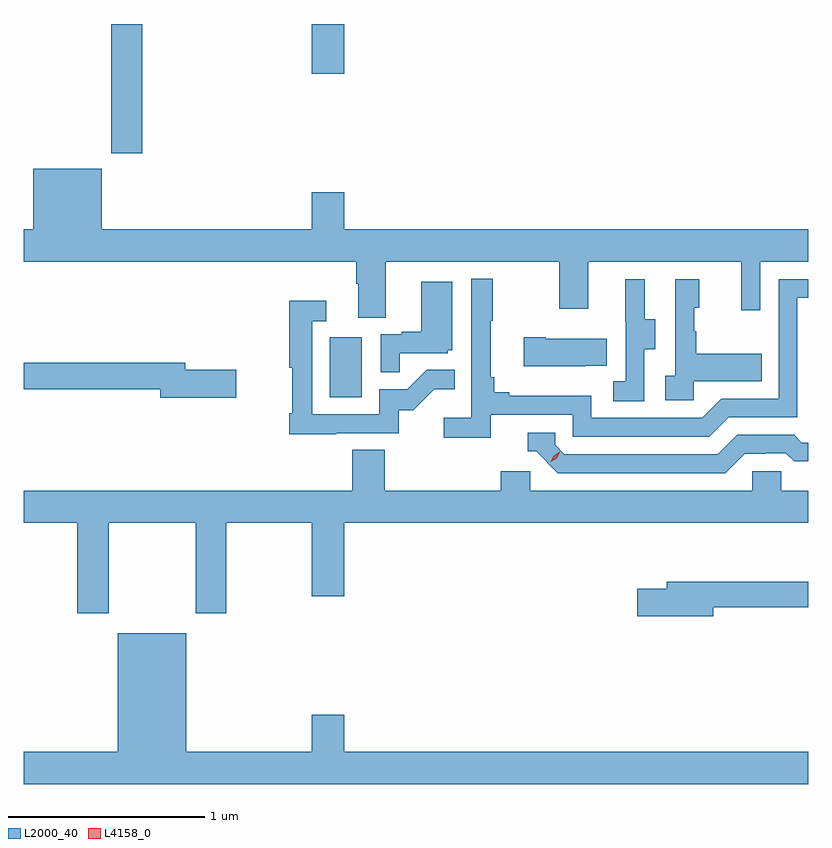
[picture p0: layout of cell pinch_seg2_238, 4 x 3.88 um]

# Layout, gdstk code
import gdstk
lib = gdstk.Library(unit=1e-6, precision=1e-09)
def R(c, l, rs):  # rectangles x0, y0, x1, y1
    for r in rs: c.add(gdstk.rectangle(r[:2], r[2:], *l))
def P(c, l, *ps):  # polygons
    for p in ps: c.add(gdstk.Polygon(p, *l))
L2000_40 = (2000, 40)
L4158_0 = (4158, 0)

pinch_seg2_238 = lib.new_cell('pinch_seg2_238')
R(pinch_seg2_238, L2000_40, [(896.366,650.94,896.53,651.247), (895.252,652.185,895.412,652.844), (896.276,652.59,896.44,652.844)])
P(pinch_seg2_238, L2000_40, [(896.653,651.632),(897.538,651.632),(897.538,651.393),(897.685,651.393),(897.685,651.632),(898.466,651.632),(898.466,651.384),(898.563,651.384),(898.563,651.632),(898.807,651.632),(898.807,651.796),(896.44,651.796),(896.44,651.985),(896.276,651.985),(896.276,651.796),(895.204,651.796),(895.204,652.105),(894.854,652.105),(894.854,651.796),(894.807,651.796),(894.807,651.632),(896.501,651.632),(896.501,651.52),(896.513,651.52),(896.513,651.346),(896.653,651.346)],
  [(897.188,650.85),(897.606,650.85),(897.606,650.739),(898.303,650.739),(898.402,650.838),(898.752,650.838),(898.752,651.447),(898.807,651.447),(898.807,651.543),(898.656,651.543),(898.656,650.934),(898.365,650.934),(898.266,650.835),(897.702,650.835),(897.702,650.947),(897.283,650.947),(897.283,650.966),(897.206,650.966),(897.206,651.043),(897.187,651.043),(897.187,651.331),(897.199,651.331),(897.199,651.544),(897.09,651.544),(897.09,650.836),(896.949,650.836),(896.949,650.734),(897.188,650.734)],
  [(898.224,651.023),(898.571,651.023),(898.571,651.163),(898.237,651.163),(898.237,651.278),(898.227,651.278),(898.227,651.396),(898.252,651.396),(898.252,651.541),(898.128,651.541),(898.128,651.05),(898.077,651.05),(898.077,650.925),(898.224,650.925)],
  [(897.972,651.184),(898.027,651.184),(898.027,651.339),(897.973,651.339),(897.973,651.541),(897.875,651.541),(897.875,651.327),(897.876,651.327),(897.876,651.023),(897.813,651.023),(897.813,650.92),(897.972,650.92)],
  [(896.723,651.165),(896.97,651.165),(896.97,651.18),(896.992,651.18),(896.992,651.529),(896.834,651.529),(896.834,651.274),(896.735,651.274),(896.735,651.261),(896.628,651.261),(896.628,651.067),(896.723,651.067)],
  [(896.399,650.757),(896.718,650.757),(896.718,650.874),(896.794,650.874),(896.901,650.981),(897.005,650.981),(897.005,651.08),(896.861,651.08),(896.763,650.982),(896.619,650.982),(896.619,650.853),(896.277,650.853),(896.277,651.327),(896.35,651.327),(896.35,651.433),(896.161,651.433),(896.161,651.09),(896.176,651.09),(896.176,650.86),(896.161,650.86),(896.161,650.752),(896.399,650.752)],
  [(897.671,651.101),(897.779,651.101),(897.779,651.238),(897.469,651.238),(897.469,651.246),(897.357,651.246),(897.357,651.098),(897.671,651.098)],
  [(895.891,651.08),(895.63,651.08),(895.63,651.116),(894.807,651.116),(894.807,650.98),(895.502,650.98),(895.502,650.938),(895.891,650.938)],
  [(898.483,650.652),(898.59,650.652),(898.59,650.655),(898.693,650.655),(898.735,650.613),(898.807,650.613),(898.807,650.709),(898.774,650.709),(898.735,650.748),(898.446,650.748),(898.347,650.649),(897.564,650.649),(897.516,650.697),(897.516,650.76),(897.377,650.76),(897.377,650.664),(897.42,650.664),(897.531,650.553),(898.384,650.553)],
  [(895.239,650.3),(895.684,650.3),(895.684,649.839),(895.839,649.839),(895.839,650.3),(896.276,650.3),(896.276,649.926),(896.44,649.926),(896.44,650.3),(898.807,650.3),(898.807,650.464),(898.671,650.464),(898.671,650.562),(898.521,650.562),(898.521,650.464),(897.39,650.464),(897.39,650.562),(897.239,650.562),(897.239,650.464),(896.648,650.464),(896.648,650.672),(896.483,650.672),(896.483,650.464),(894.807,650.464),(894.807,650.3),(895.079,650.3),(895.079,649.839),(895.239,649.839)],
  [(898.324,649.87),(898.807,649.87),(898.807,649.999),(898.085,649.999),(898.085,649.965),(897.936,649.965),(897.936,649.823),(898.324,649.823)],
  [(895.286,649.738),(895.286,649.132),(894.807,649.132),(894.807,648.968),(898.807,648.968),(898.807,649.132),(896.44,649.132),(896.44,649.321),(896.276,649.321),(896.276,649.132),(895.636,649.132),(895.636,649.738)])
P(pinch_seg2_238, L4158_0, [(897.493,650.611),(897.493,650.611),(897.509,650.643),(897.54,650.663),(897.541,650.663),(897.541,650.662),(897.524,650.63),(897.493,650.611)])

lib.write_gds('pinch_seg2_238.gds')
